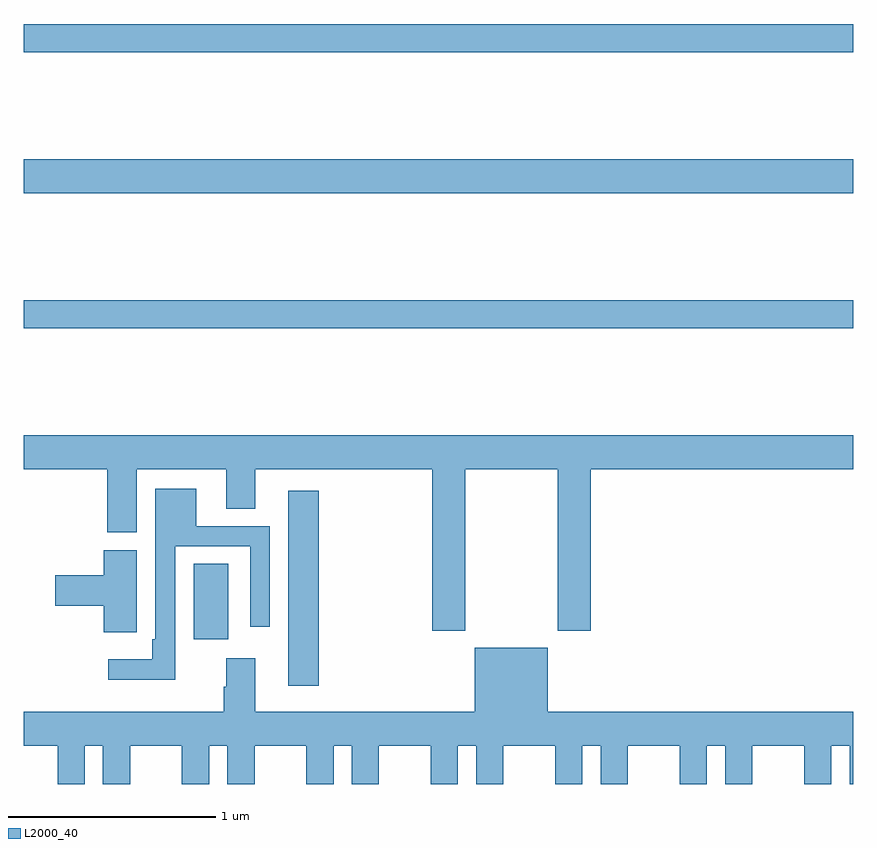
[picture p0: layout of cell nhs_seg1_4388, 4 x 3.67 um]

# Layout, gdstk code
import gdstk
lib = gdstk.Library(unit=1e-6, precision=1e-09)
def R(c, l, rs):  # rectangles x0, y0, x1, y1
    for r in rs: c.add(gdstk.rectangle(r[:2], r[2:], *l))
def P(c, l, *ps):  # polygons
    for p in ps: c.add(gdstk.Polygon(p, *l))
L2000_40 = (2000, 40)

nhs_seg1_4388 = lib.new_cell('nhs_seg1_4388')
R(nhs_seg1_4388, L2000_40, [(350.276,566.673,350.423,567.613), (349.82,566.898,349.987,567.26), (349,568.396,353,568.532), (349,569.048,353,569.212), (349,569.728,353,569.864)])
P(nhs_seg1_4388, L2000_40, [(351.129,567.716),(351.574,567.716),(351.574,566.937),(351.734,566.937),(351.734,567.716),(353,567.716),(353,567.88),(349,567.88),(349,567.716),(349.403,567.716),(349.403,567.412),(349.546,567.412),(349.546,567.716),(349.976,567.716),(349.976,567.526),(350.116,567.526),(350.116,567.716),(350.969,567.716),(350.969,566.937),(351.129,566.937)],
  [(349.731,567.345),(350.091,567.345),(350.091,566.958),(350.187,566.958),(350.187,567.441),(349.831,567.441),(349.831,567.622),(349.635,567.622),(349.635,566.896),(349.619,566.896),(349.619,566.8),(349.407,566.8),(349.407,566.702),(349.731,566.702)],
  [(349.545,567.043),(349.546,567.043),(349.546,567.327),(349.385,567.327),(349.385,567.206),(349.152,567.206),(349.152,567.059),(349.385,567.059),(349.385,566.931),(349.545,566.931)],
  [(351.176,566.548),(350.116,566.548),(350.116,566.806),(349.976,566.806),(349.976,566.669),(349.964,566.669),(349.964,566.548),(349,566.548),(349,566.384),(349.163,566.384),(349.163,566.199),(349.294,566.199),(349.294,566.384),(349.382,566.384),(349.382,566.199),(349.513,566.199),(349.513,566.384),(349.763,566.384),(349.763,566.199),(349.894,566.199),(349.894,566.384),(349.982,566.384),(349.982,566.199),(350.113,566.199),(350.113,566.384),(350.363,566.384),(350.363,566.199),(350.494,566.199),(350.494,566.384),(350.582,566.384),(350.582,566.199),(350.713,566.199),(350.713,566.384),(350.963,566.384),(350.963,566.199),(351.094,566.199),(351.094,566.384),(351.182,566.384),(351.182,566.199),(351.313,566.199),(351.313,566.384),(351.563,566.384),(351.563,566.199),(351.694,566.199),(351.694,566.384),(351.782,566.384),(351.782,566.199),(351.913,566.199),(351.913,566.384),(352.163,566.384),(352.163,566.199),(352.294,566.199),(352.294,566.384),(352.382,566.384),(352.382,566.199),(352.513,566.199),(352.513,566.384),(352.763,566.384),(352.763,566.199),(352.894,566.199),(352.894,566.384),(352.982,566.384),(352.982,566.199),(353,566.199),(353,566.548),(351.526,566.548),(351.526,566.857),(351.176,566.857)])

lib.write_gds('nhs_seg1_4388.gds')
